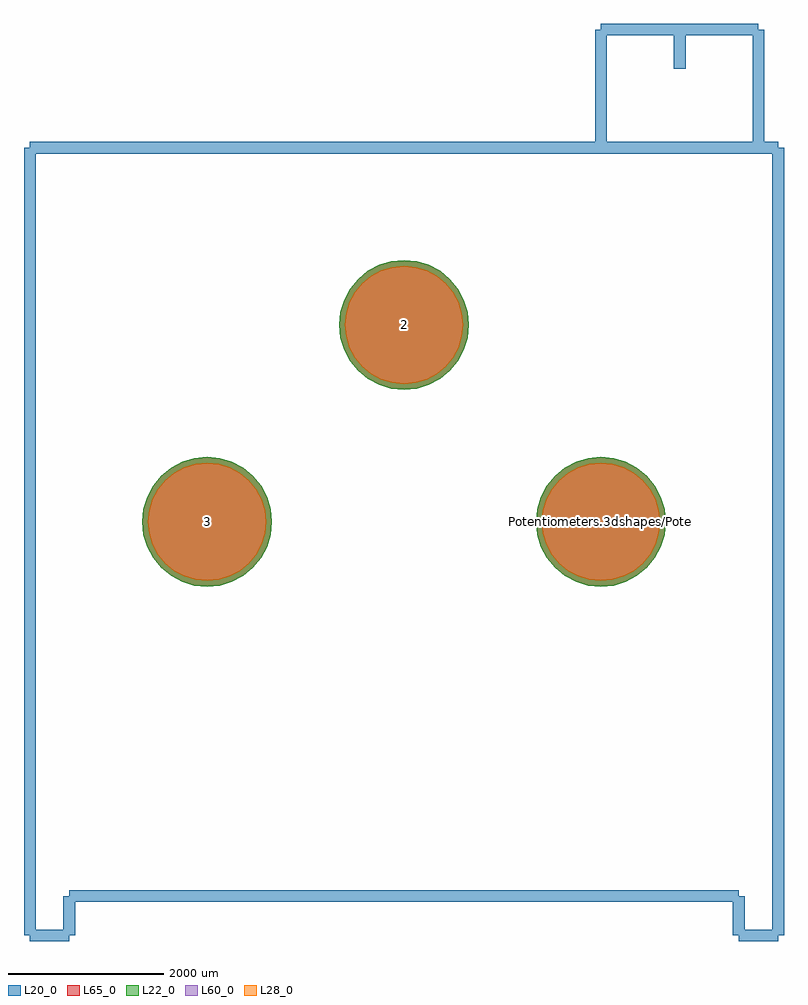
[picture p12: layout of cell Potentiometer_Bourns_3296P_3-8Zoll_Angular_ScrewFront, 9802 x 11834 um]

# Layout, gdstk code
import gdstk
lib = gdstk.Library(unit=1e-6, precision=1e-09)
def P(c, l, *ps):  # polygons
    for p in ps: c.add(gdstk.Polygon(p, *l))
L20_0 = (20, 0)
L22_0 = (22, 0)
L28_0 = (28, 0)
L60_0 = (60, 0)
L65_0 = (65, 0)

potentiometer_bourns_329 = lib.new_cell('Potentiometer_Bourns_3296P_3-8Zoll_Angular_ScrewFront')
P(potentiometer_bourns_329, L22_0, [(837,0),(820.917,163.291),(773.287,320.306),(695.94,465.012),(591.848,591.848),(465.012,695.94),(320.306,773.287),(163.291,820.917),(0,837),(-163.291,820.917),(-320.306,773.287),(-465.012,695.94),(-591.848,591.848),(-695.94,465.012),(-773.287,320.306),(-820.917,163.291),(-837,0),(-820.917,-163.291),(-773.287,-320.306),(-695.94,-465.012),(-591.848,-591.848),(-465.012,-695.94),(-320.306,-773.287),(-163.291,-820.917),(0,-837),(163.291,-820.917),(320.306,-773.287),(465.012,-695.94),(591.848,-591.848),(695.94,-465.012),(773.287,-320.306),(820.917,-163.291)],
  [(-4243,0),(-4259.083,163.291),(-4306.713,320.306),(-4384.06,465.012),(-4488.152,591.848),(-4614.988,695.94),(-4759.694,773.287),(-4916.709,820.917),(-5080,837),(-5243.291,820.917),(-5400.306,773.287),(-5545.012,695.94),(-5671.848,591.848),(-5775.94,465.012),(-5853.287,320.306),(-5900.917,163.291),(-5917,0),(-5900.917,-163.291),(-5853.287,-320.306),(-5775.94,-465.012),(-5671.848,-591.848),(-5545.012,-695.94),(-5400.306,-773.287),(-5243.291,-820.917),(-5080,-837),(-4916.709,-820.917),(-4759.694,-773.287),(-4614.988,-695.94),(-4488.152,-591.848),(-4384.06,-465.012),(-4306.713,-320.306),(-4259.083,-163.291)],
  [(-1703,2540),(-1719.083,2703.291),(-1766.713,2860.306),(-1844.06,3005.012),(-1948.152,3131.848),(-2074.988,3235.94),(-2219.694,3313.287),(-2376.709,3360.917),(-2540,3377),(-2703.291,3360.917),(-2860.306,3313.287),(-3005.012,3235.94),(-3131.848,3131.848),(-3235.94,3005.012),(-3313.287,2860.306),(-3360.917,2703.291),(-3377,2540),(-3360.917,2376.709),(-3313.287,2219.694),(-3235.94,2074.988),(-3131.848,1948.152),(-3005.012,1844.06),(-2860.306,1766.713),(-2703.291,1719.083),(-2540,1703),(-2376.709,1719.083),(-2219.694,1766.713),(-2074.988,1844.06),(-1948.152,1948.152),(-1844.06,2074.988),(-1766.713,2219.694),(-1719.083,2376.709)])
P(potentiometer_bourns_329, L28_0, [(762,0),(747.358,148.659),(703.996,291.605),(633.58,423.345),(538.815,538.815),(423.345,633.58),(291.605,703.996),(148.659,747.358),(0,762),(-148.659,747.358),(-291.605,703.996),(-423.345,633.58),(-538.815,538.815),(-633.58,423.345),(-703.996,291.605),(-747.358,148.659),(-762,0),(-747.358,-148.659),(-703.996,-291.605),(-633.58,-423.345),(-538.815,-538.815),(-423.345,-633.58),(-291.605,-703.996),(-148.659,-747.358),(0,-762),(148.659,-747.358),(291.605,-703.996),(423.345,-633.58),(538.815,-538.815),(633.58,-423.345),(703.996,-291.605),(747.358,-148.659)],
  [(-4318,0),(-4332.642,148.659),(-4376.004,291.605),(-4446.42,423.345),(-4541.185,538.815),(-4656.655,633.58),(-4788.395,703.996),(-4931.341,747.358),(-5080,762),(-5228.659,747.358),(-5371.605,703.996),(-5503.345,633.58),(-5618.815,538.815),(-5713.58,423.345),(-5783.996,291.605),(-5827.358,148.659),(-5842,0),(-5827.358,-148.659),(-5783.996,-291.605),(-5713.58,-423.345),(-5618.815,-538.815),(-5503.345,-633.58),(-5371.605,-703.996),(-5228.659,-747.358),(-5080,-762),(-4931.341,-747.358),(-4788.395,-703.996),(-4656.655,-633.58),(-4541.185,-538.815),(-4446.42,-423.345),(-4376.004,-291.605),(-4332.642,-148.659)],
  [(-1778,2540),(-1792.642,2688.659),(-1836.004,2831.605),(-1906.42,2963.345),(-2001.185,3078.815),(-2116.655,3173.58),(-2248.395,3243.996),(-2391.341,3287.358),(-2540,3302),(-2688.659,3287.358),(-2831.605,3243.996),(-2963.345,3173.58),(-3078.815,3078.815),(-3173.58,2963.345),(-3243.996,2831.605),(-3287.358,2688.659),(-3302,2540),(-3287.358,2391.341),(-3243.996,2248.395),(-3173.58,2116.655),(-3078.815,2001.185),(-2963.345,1906.42),(-2831.605,1836.004),(-2688.659,1792.642),(-2540,1778),(-2391.341,1792.642),(-2248.395,1836.004),(-2116.655,1906.42),(-2001.185,2001.185),(-1906.42,2116.655),(-1836.004,2248.395),(-1792.642,2391.341)])
P(potentiometer_bourns_329, L60_0, [(762,0),(747.358,148.659),(703.996,291.605),(633.58,423.345),(538.815,538.815),(423.345,633.58),(291.605,703.996),(148.659,747.358),(0,762),(-148.659,747.358),(-291.605,703.996),(-423.345,633.58),(-538.815,538.815),(-633.58,423.345),(-703.996,291.605),(-747.358,148.659),(-762,0),(-747.358,-148.659),(-703.996,-291.605),(-633.58,-423.345),(-538.815,-538.815),(-423.345,-633.58),(-291.605,-703.996),(-148.659,-747.358),(0,-762),(148.659,-747.358),(291.605,-703.996),(423.345,-633.58),(538.815,-538.815),(633.58,-423.345),(703.996,-291.605),(747.358,-148.659)],
  [(-4318,0),(-4332.642,148.659),(-4376.004,291.605),(-4446.42,423.345),(-4541.185,538.815),(-4656.655,633.58),(-4788.395,703.996),(-4931.341,747.358),(-5080,762),(-5228.659,747.358),(-5371.605,703.996),(-5503.345,633.58),(-5618.815,538.815),(-5713.58,423.345),(-5783.996,291.605),(-5827.358,148.659),(-5842,0),(-5827.358,-148.659),(-5783.996,-291.605),(-5713.58,-423.345),(-5618.815,-538.815),(-5503.345,-633.58),(-5371.605,-703.996),(-5228.659,-747.358),(-5080,-762),(-4931.341,-747.358),(-4788.395,-703.996),(-4656.655,-633.58),(-4541.185,-538.815),(-4446.42,-423.345),(-4376.004,-291.605),(-4332.642,-148.659)],
  [(-1778,2540),(-1792.642,2688.659),(-1836.004,2831.605),(-1906.42,2963.345),(-2001.185,3078.815),(-2116.655,3173.58),(-2248.395,3243.996),(-2391.341,3287.358),(-2540,3302),(-2688.659,3287.358),(-2831.605,3243.996),(-2963.345,3173.58),(-3078.815,3078.815),(-3173.58,2963.345),(-3243.996,2831.605),(-3287.358,2688.659),(-3302,2540),(-3287.358,2391.341),(-3243.996,2248.395),(-3173.58,2116.655),(-3078.815,2001.185),(-2963.345,1906.42),(-2831.605,1836.004),(-2688.659,1792.642),(-2540,1778),(-2391.341,1792.642),(-2248.395,1836.004),(-2116.655,1906.42),(-2001.185,2001.185),(-1906.42,2116.655),(-1836.004,2248.395),(-1792.642,2391.341)])
P(potentiometer_bourns_329, L65_0, [(837,0),(820.917,163.291),(773.287,320.306),(695.94,465.012),(591.848,591.848),(465.012,695.94),(320.306,773.287),(163.291,820.917),(0,837),(-163.291,820.917),(-320.306,773.287),(-465.012,695.94),(-591.848,591.848),(-695.94,465.012),(-773.287,320.306),(-820.917,163.291),(-837,0),(-820.917,-163.291),(-773.287,-320.306),(-695.94,-465.012),(-591.848,-591.848),(-465.012,-695.94),(-320.306,-773.287),(-163.291,-820.917),(0,-837),(163.291,-820.917),(320.306,-773.287),(465.012,-695.94),(591.848,-591.848),(695.94,-465.012),(773.287,-320.306),(820.917,-163.291)],
  [(-4243,0),(-4259.083,163.291),(-4306.713,320.306),(-4384.06,465.012),(-4488.152,591.848),(-4614.988,695.94),(-4759.694,773.287),(-4916.709,820.917),(-5080,837),(-5243.291,820.917),(-5400.306,773.287),(-5545.012,695.94),(-5671.848,591.848),(-5775.94,465.012),(-5853.287,320.306),(-5900.917,163.291),(-5917,0),(-5900.917,-163.291),(-5853.287,-320.306),(-5775.94,-465.012),(-5671.848,-591.848),(-5545.012,-695.94),(-5400.306,-773.287),(-5243.291,-820.917),(-5080,-837),(-4916.709,-820.917),(-4759.694,-773.287),(-4614.988,-695.94),(-4488.152,-591.848),(-4384.06,-465.012),(-4306.713,-320.306),(-4259.083,-163.291)],
  [(-1703,2540),(-1719.083,2703.291),(-1766.713,2860.306),(-1844.06,3005.012),(-1948.152,3131.848),(-2074.988,3235.94),(-2219.694,3313.287),(-2376.709,3360.917),(-2540,3377),(-2703.291,3360.917),(-2860.306,3313.287),(-3005.012,3235.94),(-3131.848,3131.848),(-3235.94,3005.012),(-3313.287,2860.306),(-3360.917,2703.291),(-3377,2540),(-3360.917,2376.709),(-3313.287,2219.694),(-3235.94,2074.988),(-3131.848,1948.152),(-3005.012,1844.06),(-2860.306,1766.713),(-2703.291,1719.083),(-2540,1703),(-2376.709,1719.083),(-2219.694,1766.713),(-2074.988,1844.06),(-1948.152,1948.152),(-1844.06,2074.988),(-1766.713,2219.694),(-1719.083,2376.709)])
potentiometer_bourns_329.add(gdstk.FlexPath([(-7366,4826),(2286,4826)], 149.998, ends="flush", simple_path=True, layer=20, datatype=0))  # L20_0
potentiometer_bourns_329.add(gdstk.FlexPath([(1778,-5334),(2286,-5334)], 149.998, ends="flush", simple_path=True, layer=20, datatype=0))  # L20_0
potentiometer_bourns_329.add(gdstk.FlexPath([(1778,-4826),(1778,-5334)], 149.998, ends="flush", simple_path=True, layer=20, datatype=0))  # L20_0
potentiometer_bourns_329.add(gdstk.FlexPath([(-6858,-4826),(1778,-4826)], 149.998, ends="flush", simple_path=True, layer=20, datatype=0))  # L20_0
potentiometer_bourns_329.add(gdstk.FlexPath([(-6858,-5334),(-6858,-4826)], 149.998, ends="flush", simple_path=True, layer=20, datatype=0))  # L20_0
potentiometer_bourns_329.add(gdstk.FlexPath([(-7366,-5334),(-6858,-5334)], 149.998, ends="flush", simple_path=True, layer=20, datatype=0))  # L20_0
potentiometer_bourns_329.add(gdstk.FlexPath([(-7366,4826),(-7366,-5334)], 149.998, ends="flush", simple_path=True, layer=20, datatype=0))  # L20_0
potentiometer_bourns_329.add(gdstk.FlexPath([(2286,-5334),(2286,4826)], 149.998, ends="flush", simple_path=True, layer=20, datatype=0))  # L20_0
potentiometer_bourns_329.add(gdstk.FlexPath([(2032,4826),(2032,6350)], 149.998, ends="flush", simple_path=True, layer=20, datatype=0))  # L20_0
potentiometer_bourns_329.add(gdstk.FlexPath([(0,4826),(0,6350)], 149.998, ends="flush", simple_path=True, layer=20, datatype=0))  # L20_0
potentiometer_bourns_329.add(gdstk.FlexPath([(0,6350),(2032,6350)], 149.998, ends="flush", simple_path=True, layer=20, datatype=0))  # L20_0
potentiometer_bourns_329.add(gdstk.FlexPath([(1016,6350),(1016,5842)], 149.998, ends="flush", simple_path=True, layer=20, datatype=0))  # L20_0
potentiometer_bourns_329.add(gdstk.Label('Potentiometers.3dshapes/Potentiometer_Bourns_3296P_3-8Zoll_Angular_ScrewFront.wrl', (0,0), layer=12, texttype=0))
potentiometer_bourns_329.add(gdstk.Label('1', (0,0), layer=28, texttype=0))
potentiometer_bourns_329.add(gdstk.Label('3', (-5080,0), layer=28, texttype=0))
potentiometer_bourns_329.add(gdstk.Label('2', (-2540,2540), layer=28, texttype=0))
potentiometer_bourns_329.add(gdstk.Label('type', (-2540,-8890), layer=9, texttype=0))
potentiometer_bourns_329.add(gdstk.Label('devicename', (-2540,8890), layer=9, texttype=0))

lib.write_gds('Potentiometer_Bourns_3296P_3-8Zoll_Angular_ScrewFront.gds')
